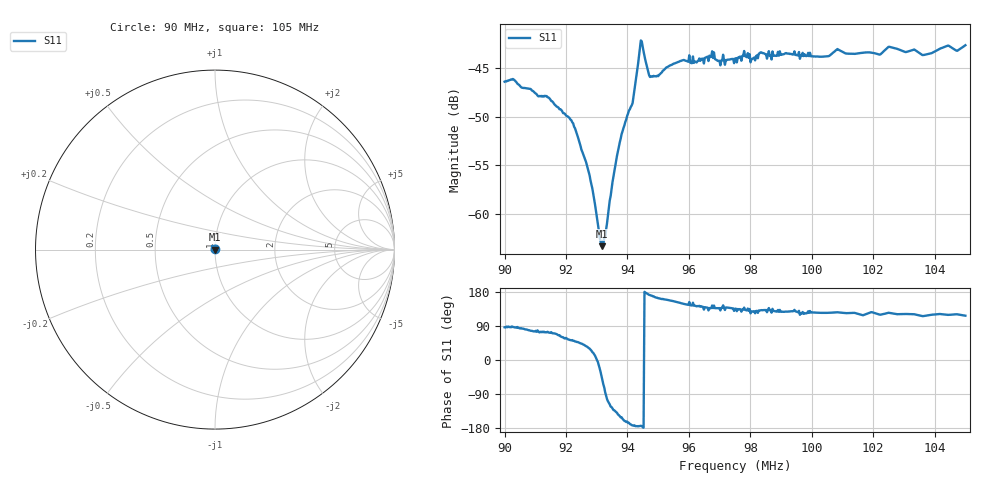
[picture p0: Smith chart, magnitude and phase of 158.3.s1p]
# HZ S RI R 50
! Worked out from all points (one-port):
!   505 points, 90 MHz to 105 MHz, reference 50 ohm
!   lowest |S11| = -63.3 dB at 93.15 MHz (marker M1), VSWR 1.00, Z = 50.1 - j0.0462 ohm
!   |S11| at or under -10 dB: start of sweep to end of sweep
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9e7  0.000309 0.00478
9.026786e7  0.000254 0.00494
9.136905e7  0.00119 0.00386
9.187501e7  0.00167 0.00293
9.223215e7  0.00186 0.00226
9.264882e7  0.00149 0.00111
9.282739e7  0.00129 0.000588
9.315477e7  0.000506 -0.000462
9.327382e7  6.3e-05 -0.000759
9.354168e7  -0.00104 -0.00116
9.375001e7  -0.00199 -0.00123
9.416668e7  -0.00369 -0.000473
9.443454e7  -0.00775 -0.000888
9.449406e7  -0.00724 -0.000408
9.467263e7  -0.00537 0.000623
9.476192e7  -0.005 0.000874
9.562502e7  -0.00535 0.00276
9.675597e7  -0.00554 0.00405
9.696431e7  -0.00446 0.00419
9.750002e7  -0.00448 0.00442
9.836312e7  -0.00449 0.00506
9.937503e7  -0.00411 0.00516
1.0125e8  -0.00372 0.00553
1.022024e8  -0.00329 0.00572
1.025298e8  -0.00407 0.00597
1.03125e8  -0.00355 0.00585
1.036608e8  -0.00291 0.00589
1.05e8  -0.00334 0.00657
